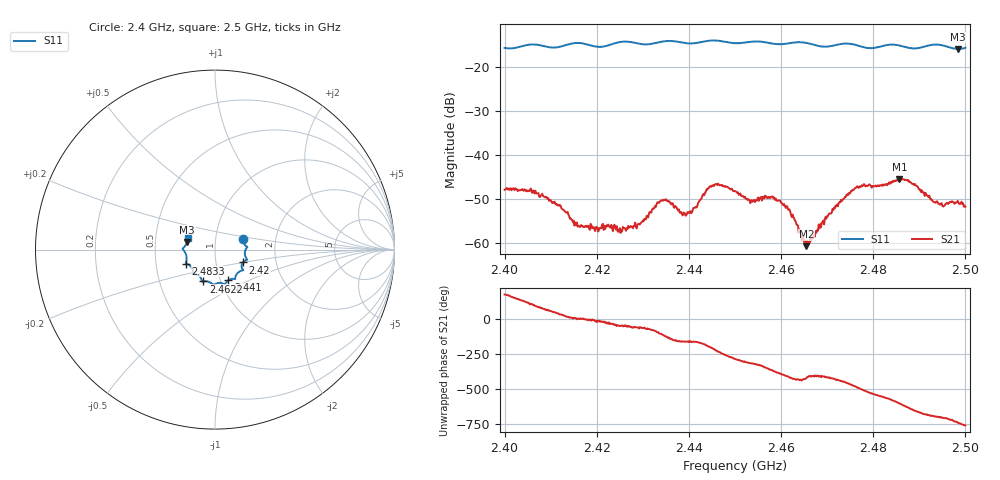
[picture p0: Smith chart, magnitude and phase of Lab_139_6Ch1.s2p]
# Hz S RI R 50
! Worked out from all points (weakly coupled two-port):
!   601 points, 2.4 GHz to 2.5 GHz, reference 50 ohm
!   highest |S21| = -45.53 dB at 2.4857 GHz (marker M1); lowest = -60.8 dB at 2.4655 GHz (marker M2)
!   lowest |S11| = -15.9 dB at 2.4983 GHz (marker M3), VSWR 1.38, Z = 36.4 + j3.1 ohm
!   |S11| at or under -10 dB: start of sweep to end of sweep
!   S12 and S22 are empty: the file has one direction only
!   S11 on the Smith chart (normalised r, x): 2.4 GHz: 1.35, +0.16; 2.42 GHz: 1.35, -0.20; 2.441 GHz: 1.09, -0.39; 2.4622 GHz: 0.83, -0.30; 2.4833 GHz: 0.71, -0.12; 2.5 GHz: 0.73, +0.10
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2.4e9  0.1543 0.0592  -0.004 0.000125  0 0  0 0
2.408667e9  0.1729 0.00426  0.000848 0.0032  0 0  0 0
2.416667e9  0.1783 -0.0571  0.00158 7.44e-05  0 0  0 0
2.42e9  0.1555 -0.0713  0.00142 -0.000487  0 0  0 0
2.429e9  0.1426 -0.119  0.000858 -0.0014  0 0  0 0
2.433333e9  0.113 -0.1539  -0.000108 -0.00288  0 0  0 0
2.435333e9  0.112 -0.1638  -0.00188 -0.00229  0 0  0 0
2.439e9  0.0945 -0.1632  -0.00197 -0.000721  0 0  0 0
2.441e9  0.0752 -0.1708  -0.00234 -0.000878  0 0  0 0
2.444833e9  0.0555 -0.1929  -0.00396 0.00175  0 0  0 0
2.45e9  0.0251 -0.1855  0.000932 0.00377  0 0  0 0
2.4535e9  -0.00366 -0.1943  0.00217 0.00215  0 0  0 0
2.458333e9  -0.0275 -0.1827  0.00314 -0.000638  0 0  0 0
2.462167e9  -0.0645 -0.1772  0.00106 -0.00177  0 0  0 0
2.4655e9  -0.0737 -0.1736  0.000445 -0.000797  0 0  0 0
2.466667e9  -0.0756 -0.1661  0.000763 -0.000805  0 0  0 0
2.476e9  -0.1238 -0.1306  -0.00203 -0.00365  0 0  0 0
2.483333e9  -0.1615 -0.0784  -0.00411 0.00224  0 0  0 0
2.485667e9  -0.1616 -0.0703  -0.00236 0.00474  0 0  0 0
2.494833e9  -0.1776 0.00829  0.0027 0.000838  0 0  0 0
2.498333e9  -0.1553 0.0414  0.00277 -0.00113  0 0  0 0
2.5e9  -0.1527 0.0652  0.00193 -0.00169  0 0  0 0
